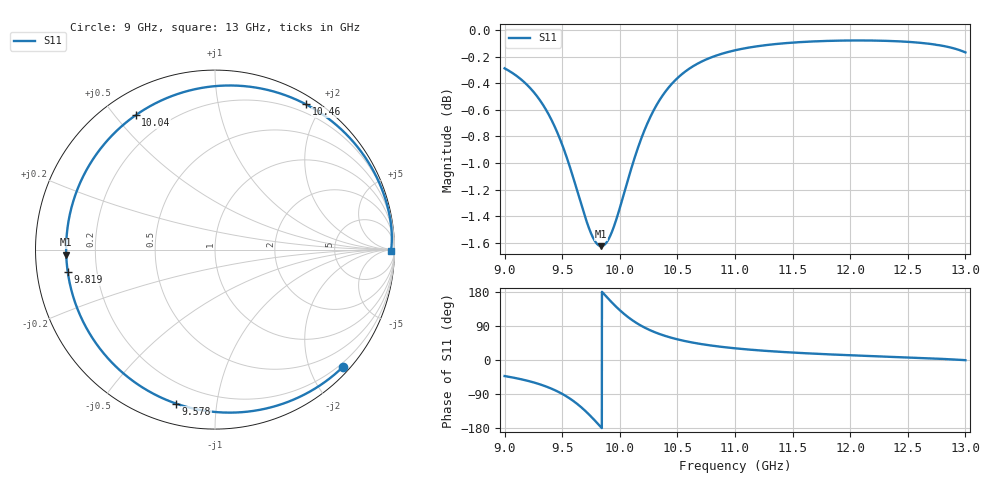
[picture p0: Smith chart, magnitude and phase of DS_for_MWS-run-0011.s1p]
! TOUCHSTONE file generated by CST DESIGN STUDIO
! Date and time: Tue Feb  4 17:27:24 2025
! Project name: C:\Work\MatlabApps\UnitCellOptimizationMatlab\CST\unitcell.cst
! Tree item: Tasks\Sweep1\SPara1\S-Parameters
! Header version: 2024
! Port assignment regex: !\s*Touchstone port\s*([0-9]+)\s*=\s*(CST MWS port|CST DES external port|CST DES block port)\s*(.+)\s* \(\"(.*)\"\)(\s*mode\s*([0-9]+))?.*
! Touchstone port assignment:
! Touchstone port 1 = CST DES external port 1 ("")
# GHz S MA R 50
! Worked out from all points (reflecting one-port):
!   4001 points, 9 GHz to 13 GHz, reference 50 ohm
!   lowest |S11| = -1.6 dB at 9.839 GHz (marker M1), VSWR 10.73, Z = 4.66 - j0.849 ohm
!   phase of S11 starts at -42 deg and turns -318 deg over the sweep
!   S11 on the Smith chart (normalised r, x): 9 GHz: 0.13, -2.57; 9.578 GHz: 0.10, -0.78; 9.819 GHz: 0.09, -0.07; 10.04 GHz: 0.09, +0.57; 10.46 GHz: 0.10, +1.80; 13 GHz: 87, -37
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9  0.9673 -42.4
9.147  0.9578 -51.0
9.279  0.9445 -61.6
9.393  0.9277 -73.9
9.5  0.9055 -89.4
9.578  0.8851 -104.1
9.639  0.8675 -118.0
9.696  0.8514 -133.1
9.762  0.8365 -152.8
9.819  0.8299 -171.4
9.839  0.8294 -178.0
9.875  0.8311 170.0
9.913  0.8362 157.6
9.958  0.8458 143.6
10  0.8572 131.4
10.041  0.8695 120.6
10.115  0.8915 103.6
10.2  0.9136 88.0
10.322  0.9375 71.2
10.456  0.9549 58.0
10.5  0.9591 54.5
10.601  0.9669 47.8
10.716  0.9733 41.6
11  0.9825 30.9
11.5  0.9891 19.6
12  0.9909 12.5
12.5  0.9897 6.7
13  0.9807 -0.5
